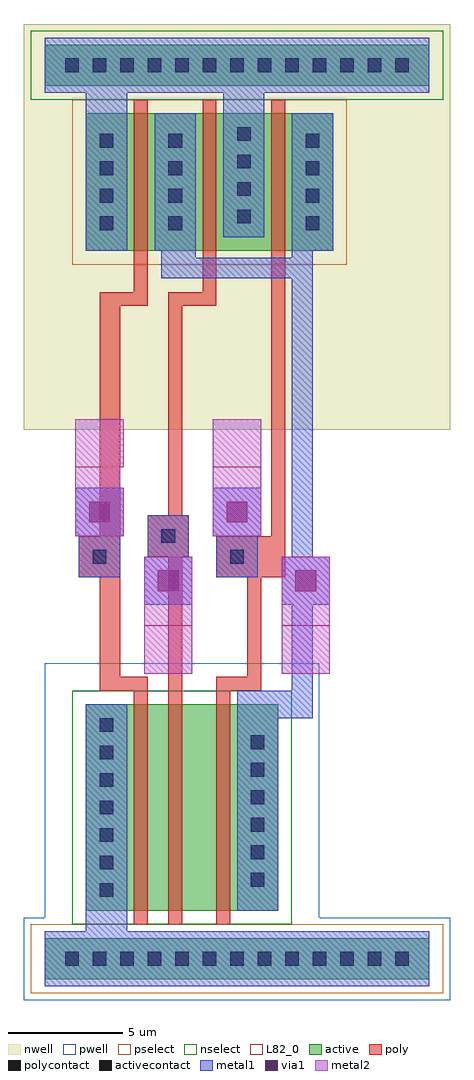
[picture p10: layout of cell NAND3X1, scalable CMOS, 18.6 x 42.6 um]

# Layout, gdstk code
import gdstk
lib = gdstk.Library(unit=1e-6, precision=1e-09)
def R(c, l, rs):  # rectangles x0, y0, x1, y1
    for r in rs: c.add(gdstk.rectangle(r[:2], r[2:], *l))
def A(c, l, x, y, w, h, nx, ny, dx, dy):  # array of equal rectangles
    R(c, l, [(x+i*dx, y+j*dy, x+i*dx+w, y+j*dy+h) for i in range(nx) for j in range(ny)])
pwell = (41, 0)
nwell = (42, 0)
active = (43, 0)
pselect = (44, 0)
nselect = (45, 0)
poly = (46, 0)
polycontact = (47, 0)
activecontact = (48, 0)
metal1 = (49, 0)
via1 = (50, 0)
metal2 = (51, 0)
L82_0 = (82, 0)

nand3x1 = lib.new_cell('NAND3X1')
R(nand3x1, pwell, [(-1.8,-1.8,16.8,1.8), (-0.9,1.8,11.1,12.9)])
R(nand3x1, nwell, [(-1.8,23.1,16.8,40.8)])
R(nand3x1, active, [(-0.9,-0.9,15.9,0.9), (0.9,2.1,9.3,11.1), (0.9,30.9,11.7,36.9), (-0.9,38.1,15.9,39.9)])
R(nand3x1, pselect, [(-1.5,-1.5,16.5,1.5), (0.3,30.3,12.3,37.5)])
R(nand3x1, nselect, [(0.3,1.5,9.9,11.7), (-1.5,37.5,16.5,40.5)])
R(nand3x1, poly, [(3,1.5,3.6,11.7), (4.5,1.5,5.1,17.55), (6.6,1.5,7.2,11.7), (1.5,11.7,3.6,12.3), (6.6,11.7,8.55,12.3), (1.5,12.3,2.4,16.65), (7.95,12.3,8.55,16.65), (0.6,16.65,2.4,18.45), (6.6,16.65,9.6,18.45), (3.6,17.55,5.4,19.35), (1.5,18.45,2.4,28.5), (9,18.45,9.6,37.5), (4.5,19.35,5.1,28.5), (1.5,28.5,3.6,29.1), (4.5,28.5,6.6,29.1), (3,29.1,3.6,37.5), (6,29.1,6.6,37.5)])
R(nand3x1, polycontact, [(1.2,17.25,1.8,17.85), (7.2,17.25,7.8,17.85), (4.2,18.15,4.8,18.75)])
A(nand3x1, activecontact, 0, -0.3, 0.6, 0.6, 13, 2, 1.2, 39)
A(nand3x1, activecontact, 1.5, 2.7, 0.6, 0.6, 1, 7, 0, 1.2)
A(nand3x1, activecontact, 8.1, 3.15, 0.6, 0.6, 1, 6, 0, 1.2)
A(nand3x1, activecontact, 1.5, 31.8, 0.6, 0.6, 1, 4, 0, 1.2)
A(nand3x1, activecontact, 4.5, 31.8, 0.6, 0.6, 1, 4, 0, 1.2)
A(nand3x1, activecontact, 10.5, 31.8, 0.6, 0.6, 1, 4, 0, 1.2)
A(nand3x1, activecontact, 7.5, 32.1, 0.6, 0.6, 1, 4, 0, 1.2)
R(nand3x1, metal1, [(-0.9,-1.2,15.9,1.2), (0.9,1.2,2.7,11.1), (7.5,2.1,9.3,10.5), (7.5,10.5,10.8,11.7), (9.9,11.7,10.8,15.45), (3.45,15.45,5.55,17.55), (9.45,15.45,11.55,17.55), (0.6,16.65,2.4,18.45), (6.6,16.65,8.4,18.45), (3.6,17.55,5.4,19.35), (9.9,17.55,10.8,29.7), (0.45,18.45,2.55,20.55), (6.45,18.45,8.55,20.55), (4.2,29.7,10.8,30.6), (4.2,30.6,5.7,30.9), (9.9,30.6,10.8,30.9), (0.9,30.9,2.7,37.8), (3.9,30.9,5.7,36.9), (9.9,30.9,11.7,36.9), (6.9,31.5,8.7,37.8), (-0.9,37.8,15.9,40.2)])
R(nand3x1, via1, [(4.05,16.05,4.95,16.95), (10.05,16.05,10.95,16.95), (1.05,19.05,1.95,19.95), (7.05,19.05,7.95,19.95)])
R(nand3x1, metal2, [(3.45,12.45,5.55,17.55), (9.45,12.45,11.55,17.55), (0.45,18.45,2.55,20.55), (6.45,18.45,8.55,23.55), (0.45,20.55,2.4,21.45), (0.45,21.45,2.55,23.55)])
R(nand3x1, L82_0, [(3.45,12.45,5.55,14.55), (9.45,12.45,11.55,14.55), (0.45,21.45,2.55,23.55), (6.45,21.45,8.55,23.55)])

lib.write_gds('NAND3X1.gds')
